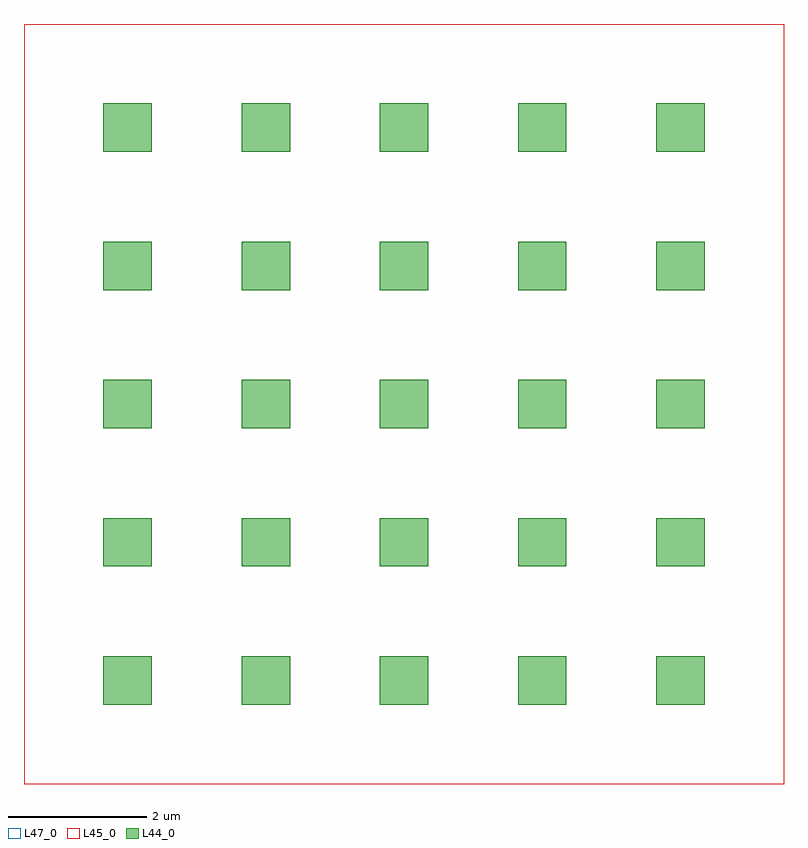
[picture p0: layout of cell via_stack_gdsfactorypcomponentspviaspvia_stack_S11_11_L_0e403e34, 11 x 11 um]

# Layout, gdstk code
import gdstk
lib = gdstk.Library(unit=1e-6, precision=1e-09)
def R(c, l, rs):  # rectangles x0, y0, x1, y1
    for r in rs: c.add(gdstk.rectangle(r[:2], r[2:], *l))
L44_0 = (44, 0)
L45_0 = (45, 0)
L47_0 = (47, 0)

compass_gdsfactorypcompo = lib.new_cell('compass_gdsfactorypcomponentspshapespcompass_S11_11_LHE_3406ca65')
R(compass_gdsfactorypcompo, L47_0, [(-5.5,-5.5,5.5,5.5)])

c_compass_gdsfactorypcompo = lib.new_cell('compass_gdsfactorypcomponentspshapespcompass_S11_11_LM2_e1084b17')
R(c_compass_gdsfactorypcompo, L45_0, [(-5.5,-5.5,5.5,5.5)])

via_gdsfactorypcomponent = lib.new_cell('via_gdsfactorypcomponentspviaspvia_S0p7_0p7_E1_LVIA1_BL_0068d91e')
R(via_gdsfactorypcomponent, L44_0, [(-0.35,-0.35,0.35,0.35)])

via_stack_gdsfactorypcom = lib.new_cell('via_stack_gdsfactorypcomponentspviaspvia_stack_S11_11_L_0e403e34')
via_stack_gdsfactorypcom.add(gdstk.Reference(compass_gdsfactorypcompo, (0,0)))
via_stack_gdsfactorypcom.add(gdstk.Reference(c_compass_gdsfactorypcompo, (0,0)))
r = gdstk.Reference(via_gdsfactorypcomponent, (-4,-4)); r.repetition = gdstk.Repetition(5, 5, v1=(2,0), v2=(0,2)); via_stack_gdsfactorypcom.add(r)

lib.write_gds('via_stack_gdsfactorypcomponentspviaspvia_stack_S11_11_L_0e403e34.gds')
